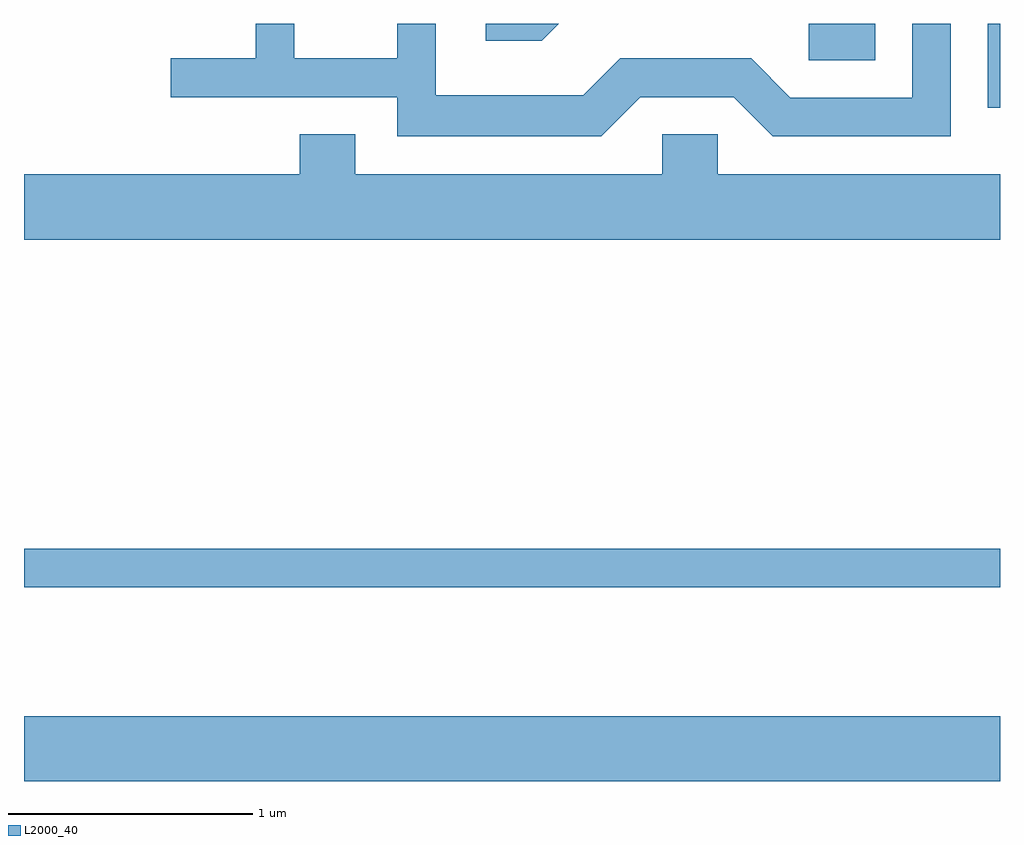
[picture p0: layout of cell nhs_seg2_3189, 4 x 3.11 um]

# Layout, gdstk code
import gdstk
lib = gdstk.Library(unit=1e-6, precision=1e-09)
def R(c, l, rs):  # rectangles x0, y0, x1, y1
    for r in rs: c.add(gdstk.rectangle(r[:2], r[2:], *l))
def P(c, l, *ps):  # polygons
    for p in ps: c.add(gdstk.Polygon(p, *l))
L2000_40 = (2000, 40)

nhs_seg2_3189 = lib.new_cell('nhs_seg2_3189')
R(nhs_seg2_3189, L2000_40, [(277.611,1112.696,281.611,1112.964), (277.611,1113.491,281.611,1113.649), (281.561,1115.458,281.611,1115.802), (280.828,1115.651,281.099,1115.802)])
P(nhs_seg2_3189, L2000_40, [(279.803,1115.802),(279.503,1115.802),(279.503,1115.731),(279.732,1115.731)],
  [(280.137,1115.501),(280.519,1115.501),(280.679,1115.341),(281.409,1115.341),(281.409,1115.802),(281.251,1115.802),(281.251,1115.499),(280.752,1115.499),(280.592,1115.659),(280.054,1115.659),(279.904,1115.509),(279.299,1115.509),(279.299,1115.802),(279.141,1115.802),(279.141,1115.659),(278.719,1115.659),(278.719,1115.802),(278.561,1115.802),(278.561,1115.659),(278.213,1115.659),(278.213,1115.501),(279.141,1115.501),(279.141,1115.341),(279.977,1115.341)],
  [(281.611,1115.184),(280.454,1115.184),(280.454,1115.349),(280.226,1115.349),(280.226,1115.184),(278.969,1115.184),(278.969,1115.349),(278.741,1115.349),(278.741,1115.184),(277.611,1115.184),(277.611,1114.916),(281.611,1114.916)])

lib.write_gds('nhs_seg2_3189.gds')
